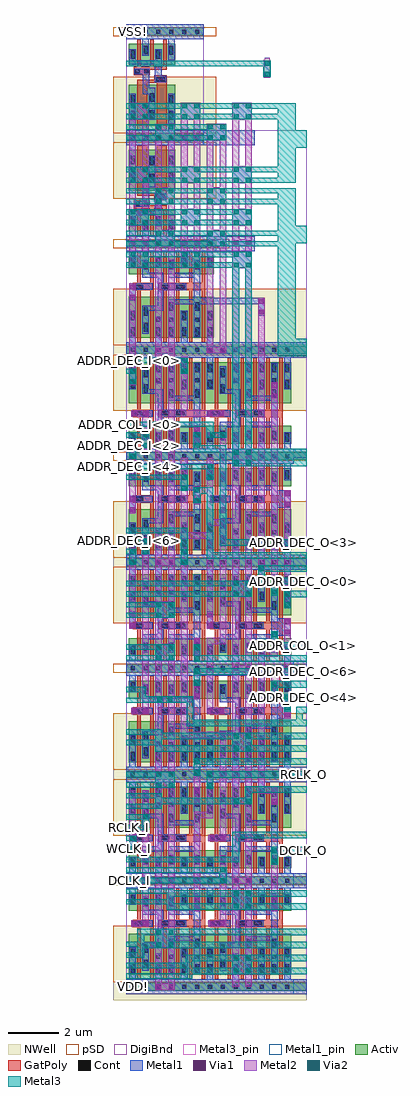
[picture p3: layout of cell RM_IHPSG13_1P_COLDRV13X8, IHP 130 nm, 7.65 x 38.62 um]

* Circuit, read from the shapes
.subckt RM_IHPSG13_1P_COLDRV13X8 ADDR_COL_I<0> ADDR_COL_I<1> ADDR_COL_O<0> ADDR_COL_O<1> ADDR_DEC_I<0> ADDR_DEC_I<1> ADDR_DEC_I<2> ADDR_DEC_I<3> ADDR_DEC_I<4> ADDR_DEC_I<5> ADDR_DEC_I<6> ADDR_DEC_I<7> ADDR_DEC_O<0> ADDR_DEC_O<1> ADDR_DEC_O<2> ADDR_DEC_O<3> ADDR_DEC_O<4> ADDR_DEC_O<5> ADDR_DEC_O<6> ADDR_DEC_O<7> DCLK_I DCLK_O RCLK_I RCLK_O VDD! VSS! WCLK_I WCLK_O
XM1 n1 RCLK_I VSS! VSS! sg13_lv_nmos w=0.705u l=0.13u m=2
XM2 n2 WCLK_I VSS! VSS! sg13_lv_nmos w=0.705u l=0.13u m=2
XM3 n3 ADDR_DEC_I<6> VSS! VSS! sg13_lv_nmos w=0.705u l=0.13u m=2
XM4 n4 ADDR_DEC_I<7> VSS! VSS! sg13_lv_nmos w=0.705u l=0.13u m=2
XM5 n5 ADDR_DEC_I<2> VSS! VSS! sg13_lv_nmos w=0.705u l=0.13u m=2
XM6 n6 ADDR_DEC_I<3> VSS! VSS! sg13_lv_nmos w=0.705u l=0.13u m=2
XM7 n7 ADDR_DEC_I<1> VSS! VSS! sg13_lv_nmos w=0.705u l=0.13u m=2
XM8 VSS! n8 n9 VSS! sg13_lv_nmos w=0.83u l=0.13u m=3
XM9 VSS! n10 n11 VSS! sg13_lv_nmos w=0.83u l=0.13u m=3
XM10 RCLK_O n1 VSS! VSS! sg13_lv_nmos w=0.705u l=0.13u m=4
XM11 WCLK_O n2 VSS! VSS! sg13_lv_nmos w=0.705u l=0.13u m=4
XM12 ADDR_DEC_O<6> n3 VSS! VSS! sg13_lv_nmos w=0.705u l=0.13u m=4
XM13 ADDR_DEC_O<7> n4 VSS! VSS! sg13_lv_nmos w=0.705u l=0.13u m=4
XM14 ADDR_DEC_O<2> n5 VSS! VSS! sg13_lv_nmos w=0.705u l=0.13u m=4
XM15 ADDR_DEC_O<3> n6 VSS! VSS! sg13_lv_nmos w=0.705u l=0.13u m=4
XM16 ADDR_DEC_O<1> n7 VSS! VSS! sg13_lv_nmos w=0.705u l=0.13u m=4
XM17 n12 DCLK_I VSS! VSS! sg13_lv_nmos w=0.705u l=0.13u m=2
XM18 n13 ADDR_COL_I<1> VSS! VSS! sg13_lv_nmos w=0.705u l=0.13u m=2
XM19 n14 ADDR_DEC_I<4> VSS! VSS! sg13_lv_nmos w=0.705u l=0.13u m=2
XM20 n15 ADDR_DEC_I<5> VSS! VSS! sg13_lv_nmos w=0.705u l=0.13u m=2
XM21 n16 ADDR_COL_I<0> VSS! VSS! sg13_lv_nmos w=0.705u l=0.13u m=2
XM22 n17 ADDR_DEC_I<0> VSS! VSS! sg13_lv_nmos w=0.705u l=0.13u m=2
XM23 DCLK_O n12 VSS! VSS! sg13_lv_nmos w=0.705u l=0.13u m=4
XM24 ADDR_COL_O<1> n13 VSS! VSS! sg13_lv_nmos w=0.705u l=0.13u m=4
XM25 ADDR_DEC_O<4> n14 VSS! VSS! sg13_lv_nmos w=0.705u l=0.13u m=4
XM26 ADDR_DEC_O<5> n15 VSS! VSS! sg13_lv_nmos w=0.705u l=0.13u m=4
XM27 ADDR_COL_O<0> n16 VSS! VSS! sg13_lv_nmos w=0.705u l=0.13u m=4
XM28 ADDR_DEC_O<0> n17 VSS! VSS! sg13_lv_nmos w=0.705u l=0.13u m=4
XM29 n1 RCLK_I VDD! VDD! sg13_lv_pmos w=1.62u l=0.13u m=2
XM30 n2 WCLK_I VDD! VDD! sg13_lv_pmos w=1.62u l=0.13u m=2
XM31 n3 ADDR_DEC_I<6> VDD! VDD! sg13_lv_pmos w=1.62u l=0.13u m=2
XM32 n4 ADDR_DEC_I<7> VDD! VDD! sg13_lv_pmos w=1.62u l=0.13u m=2
XM33 n5 ADDR_DEC_I<2> VDD! VDD! sg13_lv_pmos w=1.62u l=0.13u m=2
XM34 n6 ADDR_DEC_I<3> VDD! VDD! sg13_lv_pmos w=1.62u l=0.13u m=2
XM35 n7 ADDR_DEC_I<1> VDD! VDD! sg13_lv_pmos w=1.62u l=0.13u m=2
XM36 n8 n9 VDD! VDD! sg13_lv_pmos w=1.62u l=0.385u m=2
XM37 n10 n11 VDD! VDD! sg13_lv_pmos w=1.62u l=0.385u m=2
XM38 RCLK_O n1 VDD! VDD! sg13_lv_pmos w=1.62u l=0.13u m=4
XM39 WCLK_O n2 VDD! VDD! sg13_lv_pmos w=1.62u l=0.13u m=4
XM40 ADDR_DEC_O<6> n3 VDD! VDD! sg13_lv_pmos w=1.62u l=0.13u m=4
XM41 ADDR_DEC_O<7> n4 VDD! VDD! sg13_lv_pmos w=1.62u l=0.13u m=4
XM42 ADDR_DEC_O<2> n5 VDD! VDD! sg13_lv_pmos w=1.62u l=0.13u m=4
XM43 ADDR_DEC_O<3> n6 VDD! VDD! sg13_lv_pmos w=1.62u l=0.13u m=4
XM44 ADDR_DEC_O<1> n7 VDD! VDD! sg13_lv_pmos w=1.62u l=0.13u m=4
XM45 n12 DCLK_I VDD! VDD! sg13_lv_pmos w=1.62u l=0.13u m=2
XM46 n13 ADDR_COL_I<1> VDD! VDD! sg13_lv_pmos w=1.62u l=0.13u m=2
XM47 n14 ADDR_DEC_I<4> VDD! VDD! sg13_lv_pmos w=1.62u l=0.13u m=2
XM48 n15 ADDR_DEC_I<5> VDD! VDD! sg13_lv_pmos w=1.62u l=0.13u m=2
XM49 n16 ADDR_COL_I<0> VDD! VDD! sg13_lv_pmos w=1.62u l=0.13u m=2
XM50 n17 ADDR_DEC_I<0> VDD! VDD! sg13_lv_pmos w=1.62u l=0.13u m=2
XM51 DCLK_O n12 VDD! VDD! sg13_lv_pmos w=1.62u l=0.13u m=4
XM52 ADDR_COL_O<1> n13 VDD! VDD! sg13_lv_pmos w=1.62u l=0.13u m=4
XM53 ADDR_DEC_O<4> n14 VDD! VDD! sg13_lv_pmos w=1.62u l=0.13u m=4
XM54 ADDR_DEC_O<5> n15 VDD! VDD! sg13_lv_pmos w=1.62u l=0.13u m=4
XM55 ADDR_COL_O<0> n16 VDD! VDD! sg13_lv_pmos w=1.62u l=0.13u m=4
XM56 ADDR_DEC_O<0> n17 VDD! VDD! sg13_lv_pmos w=1.62u l=0.13u m=4
.ends

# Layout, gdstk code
from math import pi, radians
import gdstk
lib = gdstk.Library(unit=1e-6, precision=1e-09)
def R(c, l, rs):  # rectangles x0, y0, x1, y1
    for r in rs: c.add(gdstk.rectangle(r[:2], r[2:], *l))
def A(c, l, x, y, w, h, nx, ny, dx, dy):  # array of equal rectangles
    R(c, l, [(x+i*dx, y+j*dy, x+i*dx+w, y+j*dy+h) for i in range(nx) for j in range(ny)])
def P(c, l, *ps):  # polygons
    for p in ps: c.add(gdstk.Polygon(p, *l))
Activ = (1, 0)
GatPoly = (5, 0)
Cont = (6, 0)
Metal1 = (8, 0)
Metal1_pin = (8, 2)
Metal2 = (10, 0)
pSD = (14, 0)
DigiBnd = (16, 0)
Via1 = (19, 0)
Via2 = (29, 0)
Metal3 = (30, 0)
Metal3_pin = (30, 2)
NWell = (31, 0)

rsc_ihpsg13_cbufx8 = lib.new_cell('RSC_IHPSG13_CBUFX8')
R(rsc_ihpsg13_cbufx8, Activ, [(0,-0.15,3.57,0.15), (0.105,0.49,3.465,1.195), (0.105,2.1,3.465,3.72), (0,4.05,3.57,4.35)])
P(rsc_ihpsg13_cbufx8, GatPoly, [(0.445,0.3),(0.445,1.54),(0.26,1.54),(0.26,1.84),(0.445,1.84),(0.445,3.9),(0.575,3.9),(0.575,1.84),(0.955,1.84),(0.955,3.9),(1.085,3.9),(1.085,0.3),(0.955,0.3),(0.955,1.54),(0.575,1.54),(0.575,0.3)],
  [(1.465,0.3),(1.465,1.54),(1.295,1.54),(1.295,1.84),(1.465,1.84),(1.465,3.9),(1.595,3.9),(1.595,1.84),(1.975,1.84),(1.975,3.9),(2.105,3.9),(2.105,1.84),(2.485,1.84),(2.485,3.9),(2.615,3.9),(2.615,1.84),(2.995,1.84),(2.995,3.9),(3.125,3.9),(3.125,0.3),(2.995,0.3),(2.995,1.54),(2.615,1.54),(2.615,0.3),(2.485,0.3),(2.485,1.54),(2.105,1.54),(2.105,0.3),(1.975,0.3),(1.975,1.54),(1.595,1.54),(1.595,0.3)])
A(rsc_ihpsg13_cbufx8, Cont, 0.175, -0.08, 0.16, 0.16, 7, 2, 0.51, 4.2)
A(rsc_ihpsg13_cbufx8, Cont, 0.175, 0.56, 0.16, 0.34, 4, 1, 1.02, 0)
A(rsc_ihpsg13_cbufx8, Cont, 0.685, 0.67, 0.16, 0.34, 3, 1, 1.02, 0)
A(rsc_ihpsg13_cbufx8, Cont, 1.195, 3.31, 0.16, 0.34, 5, 1, 0.51, 0)
R(rsc_ihpsg13_cbufx8, Cont, [(0.33,1.61,0.67,1.77), (1.365,1.61,1.705,1.77), (1.985,1.61,2.325,1.77), (1.705,2.31,1.865,2.65), (2.725,2.31,2.885,2.65), (0.685,2.51,0.845,2.85), (0.175,2.69,0.335,3.03), (2.215,2.69,2.375,3.03), (3.235,2.69,3.395,3.03), (1.195,2.93,1.355,3.09), (1.705,2.93,1.865,3.09), (2.725,2.93,2.885,3.09), (0.685,3.13,0.845,3.47), (0.175,3.31,0.335,3.65)])
R(rsc_ihpsg13_cbufx8, Metal1, [(0.28,1.56,1.05,1.82)])
P(rsc_ihpsg13_cbufx8, Metal1, [(0.125,2.64),(0.125,3.9),(0,3.9),(0,4.5),(3.57,4.5),(3.57,3.9),(3.445,3.9),(3.445,2.64),(3.185,2.64),(3.185,3.9),(2.425,3.9),(2.425,2.64),(2.165,2.64),(2.165,3.9),(1.405,3.9),(1.405,2.88),(1.145,2.88),(1.145,3.9),(0.385,3.9),(0.385,2.64)],
  [(0.635,0.62),(0.635,1.35),(1.25,1.35),(1.25,2.46),(0.635,2.46),(0.635,3.56),(0.895,3.56),(0.895,2.65),(1.455,2.65),(1.455,1.83),(2.375,1.83),(2.375,1.56),(1.455,1.56),(1.455,1.15),(0.895,1.15),(0.895,0.62)],
  [(1.655,0.62),(1.655,1.35),(2.675,1.35),(2.675,2.2),(1.655,2.2),(1.655,3.7),(1.915,3.7),(1.915,2.39),(2.675,2.39),(2.675,3.7),(2.935,3.7),(2.935,0.62),(2.675,0.62),(2.675,1.15),(1.915,1.15),(1.915,0.62)],
  [(0,-0.3),(0,0.3),(0.125,0.3),(0.125,0.95),(0.385,0.95),(0.385,0.3),(1.145,0.3),(1.145,0.95),(1.405,0.95),(1.405,0.3),(2.165,0.3),(2.165,0.95),(2.425,0.95),(2.425,0.3),(3.185,0.3),(3.185,0.95),(3.445,0.95),(3.445,0.3),(3.57,0.3),(3.57,-0.3)])
R(rsc_ihpsg13_cbufx8, Metal1_pin, [(0,-0.3,3.57,0.3), (2.675,0.62,2.935,3.7), (0.28,1.56,1.05,1.82), (0,3.9,3.57,4.5)])
R(rsc_ihpsg13_cbufx8, pSD, [(-0.51,-0.18,4.08,0.18), (-0.51,1.785,4.08,4.02)])
R(rsc_ihpsg13_cbufx8, DigiBnd, [(0,-0.3,3.57,4.5)])
R(rsc_ihpsg13_cbufx8, NWell, [(-0.51,1.785,4.08,4.725)])
rsc_ihpsg13_cbufx8.add(gdstk.Label('A', (0.51,1.695), layer=8, texttype=2))
rsc_ihpsg13_cbufx8.add(gdstk.Label('Z', (2.806,1.995), layer=8, texttype=2))
rsc_ihpsg13_cbufx8.add(gdstk.Label('VSS!', (1.155,0.005), layer=8, texttype=2))
rsc_ihpsg13_cbufx8.add(gdstk.Label('VDD!', (0.84,4.2), layer=8, texttype=2))

m2_m1_cdns_686138838816 = lib.new_cell('M2_M1_CDNS_686138838816')
R(m2_m1_cdns_686138838816, Metal1, [(-0.35,-0.13,0.35,0.13)])
R(m2_m1_cdns_686138838816, Metal2, [(-0.35,-0.13,0.35,0.13)])
R(m2_m1_cdns_686138838816, Via1, [(-0.3,-0.095,-0.11,0.095), (0.11,-0.095,0.3,0.095)])

rsc_ihpsg13_fillcap4 = lib.new_cell('RSC_IHPSG13_FILLCAP4')
R(rsc_ihpsg13_fillcap4, Activ, [(0,-0.15,2.04,0.15), (0.105,0.49,1.935,1.32), (0.105,2.1,1.935,3.72), (0,4.05,2.04,4.35)])
P(rsc_ihpsg13_fillcap4, GatPoly, [(0.445,0.3),(0.445,1.39),(0.295,1.39),(0.295,1.72),(0.935,1.72),(0.935,1.52),(1.595,1.52),(1.595,0.3),(1.465,0.3),(1.465,1.39),(1.085,1.39),(1.085,0.3),(0.955,0.3),(0.955,1.39),(0.575,1.39),(0.575,0.3)],
  [(1.115,1.73),(1.115,1.9),(0.445,1.9),(0.445,3.9),(0.83,3.9),(0.83,2.03),(1.21,2.03),(1.21,3.9),(1.595,3.9),(1.595,1.73)])
A(rsc_ihpsg13_fillcap4, Cont, 0.175, -0.08, 0.16, 0.16, 4, 2, 0.51, 4.2)
R(rsc_ihpsg13_fillcap4, Cont, [(0.685,0.56,0.845,0.9), (1.705,0.57,1.865,0.91), (0.175,0.745,0.335,1.085), (1.195,0.745,1.355,1.085), (0.365,1.49,0.525,1.65), (0.705,1.49,0.865,1.65), (1.185,1.8,1.525,1.96), (0.94,2.44,1.1,2.78), (0.175,2.52,0.335,2.86), (1.705,2.52,1.865,2.86), (0.94,3.105,1.1,3.445), (0.175,3.14,0.335,3.48), (1.705,3.14,1.865,3.48)])
P(rsc_ihpsg13_fillcap4, Metal1, [(0.315,1.47),(0.315,1.69),(0.655,1.69),(0.655,2.49),(0.89,2.49),(0.89,3.495),(1.15,3.495),(1.15,2.23),(0.915,2.23),(0.915,1.47)],
  [(0.125,0.695),(0.125,1.29),(1.135,1.29),(1.135,2.01),(1.575,2.01),(1.575,1.75),(1.405,1.75),(1.405,0.695),(1.145,0.695),(1.145,1.13),(0.385,1.13),(0.385,0.695)],
  [(0.125,2.46),(0.125,3.9),(0,3.9),(0,4.5),(2.04,4.5),(2.04,3.9),(1.915,3.9),(1.915,2.46),(1.655,2.46),(1.655,3.9),(0.385,3.9),(0.385,2.46)],
  [(0,-0.3),(0,0.3),(0.635,0.3),(0.635,0.95),(0.895,0.95),(0.895,0.3),(1.655,0.3),(1.655,1.135),(1.915,1.135),(1.915,0.3),(2.04,0.3),(2.04,-0.3)])
R(rsc_ihpsg13_fillcap4, Metal1_pin, [(0,-0.3,2.04,0.3), (0,3.9,2.04,4.5)])
R(rsc_ihpsg13_fillcap4, pSD, [(-0.51,-0.18,2.55,0.18), (-0.51,1.785,2.55,4.02)])
R(rsc_ihpsg13_fillcap4, DigiBnd, [(0,-0.3,2.04,4.5)])
R(rsc_ihpsg13_fillcap4, NWell, [(-0.51,1.785,2.55,4.725)])
rsc_ihpsg13_fillcap4.add(gdstk.Label('VDD!', (0.84,4.2), layer=8, texttype=2))
rsc_ihpsg13_fillcap4.add(gdstk.Label('VSS!', (1.155,0.005), layer=8, texttype=2))

rsc_ihpsg13_fill2 = lib.new_cell('RSC_IHPSG13_FILL2')
R(rsc_ihpsg13_fill2, Activ, [(0,-0.15,1.02,0.15), (0,4.05,1.02,4.35)])
R(rsc_ihpsg13_fill2, Cont, [(0.175,-0.08,0.335,0.08), (0.685,-0.08,0.845,0.08), (0.175,4.12,0.335,4.28), (0.685,4.12,0.845,4.28)])
R(rsc_ihpsg13_fill2, Metal1, [(0,-0.3,1.02,0.3), (0,3.9,1.02,4.5)])
R(rsc_ihpsg13_fill2, Metal1_pin, [(0,-0.3,1.02,0.3), (0,3.9,1.02,4.5)])
R(rsc_ihpsg13_fill2, pSD, [(-0.51,-0.18,1.53,0.18), (-0.51,1.785,1.53,4.02)])
R(rsc_ihpsg13_fill2, DigiBnd, [(0,-0.3,1.02,4.5)])
R(rsc_ihpsg13_fill2, NWell, [(-0.51,1.785,1.53,4.725)])
rsc_ihpsg13_fill2.add(gdstk.Label('VSS!', (0.635,-0.005), layer=8, texttype=2))
rsc_ihpsg13_fill2.add(gdstk.Label('VDD!', (0.515,4.215), layer=8, texttype=2))

m2_m1_cdns_6861388388112 = lib.new_cell('M2_M1_CDNS_6861388388112')
R(m2_m1_cdns_6861388388112, Metal1, [(-0.385,-0.13,0.385,0.13)])
R(m2_m1_cdns_6861388388112, Metal2, [(-0.385,-0.13,0.385,0.13)])
R(m2_m1_cdns_6861388388112, Via1, [(-0.335,-0.095,-0.145,0.095), (0.145,-0.095,0.335,0.095)])

viagen23_cdns_6861388388 = lib.new_cell('viagen23_CDNS_6861388388142')
R(viagen23_cdns_6861388388, Metal2, [(-0.105,-0.35,0.105,0.35)])
R(viagen23_cdns_6861388388, Via2, [(-0.095,-0.3,0.095,-0.11), (-0.095,0.11,0.095,0.3)])
R(viagen23_cdns_6861388388, Metal3, [(-0.105,-0.35,0.105,0.35)])

m3_m2_cdns_6861388388143 = lib.new_cell('M3_M2_CDNS_6861388388143')
R(m3_m2_cdns_6861388388143, Metal2, [(-0.355,-0.13,0.355,0.13)])
R(m3_m2_cdns_6861388388143, Via2, [(-0.305,-0.095,-0.115,0.095), (0.115,-0.095,0.305,0.095)])
R(m3_m2_cdns_6861388388143, Metal3, [(-0.315,-0.145,0.315,0.145)])

c_viagen23_cdns_6861388388 = lib.new_cell('viagen23_CDNS_6861388388130')
R(c_viagen23_cdns_6861388388, Metal2, [(-0.385,-0.34,0.385,0.34)])
R(c_viagen23_cdns_6861388388, Via2, [(-0.335,-0.305,-0.145,-0.115), (0.145,-0.305,0.335,-0.115), (-0.335,0.115,-0.145,0.305), (0.145,0.115,0.335,0.305)])
R(c_viagen23_cdns_6861388388, Metal3, [(-0.385,-0.315,0.385,0.315)])

c_viagen23_cdns_6861388388_ = lib.new_cell('viagen23_CDNS_6861388388115')
R(c_viagen23_cdns_6861388388_, Metal2, [(-0.385,-0.385,0.385,0.385)])
R(c_viagen23_cdns_6861388388_, Via2, [(-0.335,-0.335,-0.145,-0.145), (0.145,-0.335,0.335,-0.145), (-0.335,0.145,-0.145,0.335), (0.145,0.145,0.335,0.335)])
R(c_viagen23_cdns_6861388388_, Metal3, [(-0.385,-0.385,0.385,0.385)])

m3_m2_cdns_6861388388117 = lib.new_cell('M3_M2_CDNS_6861388388117')
R(m3_m2_cdns_6861388388117, Metal2, [(-0.385,-0.13,0.385,0.13)])
R(m3_m2_cdns_6861388388117, Via2, [(-0.335,-0.095,-0.145,0.095), (0.145,-0.095,0.335,0.095)])
R(m3_m2_cdns_6861388388117, Metal3, [(-0.385,-0.13,0.385,0.13)])

m3_m2_cdns_6861388388111 = lib.new_cell('M3_M2_CDNS_6861388388111')
R(m3_m2_cdns_6861388388111, Metal2, [(-0.35,-0.13,0.35,0.13)])
R(m3_m2_cdns_6861388388111, Via2, [(-0.3,-0.095,-0.11,0.095), (0.11,-0.095,0.3,0.095)])
R(m3_m2_cdns_6861388388111, Metal3, [(-0.35,-0.13,0.35,0.13)])

rm_ihpsg13_1p_coldrv13x8 = lib.new_cell('RM_IHPSG13_1P_COLDRV13X8')
A(rm_ihpsg13_1p_coldrv13x8, Activ, 6.63, -37.95, 0.51, 0.3, 1, 7, 0, 4.2)
A(rm_ihpsg13_1p_coldrv13x8, Metal1, 6.63, -38.1, 0.51, 0.6, 1, 4, 0, 4.2)
R(rm_ihpsg13_1p_coldrv13x8, Metal1, [(5.995,-27.19,6.245,-26.49), (5.995,-23.91,6.245,-23.21), (6.625,-21.3,7.14,-20.7), (5.995,-18.85,6.505,-18.15), (6.63,-16.86,7.14,-16.5), (6.63,-12.9,7.14,-12.3), (2.935,-10.79,5.485,-10.54), (3.06,-8.7,5.095,-8.1), (3.06,-4.5,5.095,-3.9)])
R(rm_ihpsg13_1p_coldrv13x8, Metal1_pin, [(0,-38.1,0.6,-37.5), (0,-33.9,0.6,-33.3), (0,-0.3,0.6,0.3)])
R(rm_ihpsg13_1p_coldrv13x8, Metal2, [(1.145,-37.93,1.405,-4.07), (1.655,-37.93,1.915,-4.07), (4.205,-37.8,4.465,-2.81), (4.715,-37.8,4.975,-2.81), (0.635,-35.42,0.895,-30.03), (3.695,-35.42,3.955,-32.595), (5.735,-34.82,5.995,-32.27), (0.125,-32.04,0.385,-30.03), (2.675,-30.6,2.935,-28.76), (6.245,-27.19,6.505,-26.21), (2.675,-26.42,2.935,-25.19), (2.675,-24.94,2.935,-23.98), (0.125,-23.64,0.385,-20.435), (6.245,-22.83,6.505,-18.15), (5.735,-22.32,5.995,-13.87), (5.225,-21.81,5.485,-10.54), (0.125,-19.06,0.385,-16.485), (2.675,-18.71,2.935,-18), (2.675,-16.525,2.935,-15.58), (0.125,-14.005,0.385,-9.96), (3.185,-12.73,3.445,-4.07), (3.695,-12.73,3.955,-4.07), (0.125,-9.37,0.385,-2.81), (0.635,-9.37,0.895,-2.81), (2.165,-9.37,2.425,-2.81), (2.675,-9.37,2.935,-2.81), (5.475,-1.365,5.675,-1.035)])
P(rm_ihpsg13_1p_coldrv13x8, Metal2, [(5.735,-25.705),(5.735,-25.445),(6.245,-25.445),(6.245,-23.21),(6.505,-23.21),(6.505,-25.705)],
  [(5.225,-30.16),(5.225,-24.49),(5.735,-24.49),(5.735,-23.73),(5.995,-23.73),(5.995,-24.75),(5.485,-24.75),(5.485,-29.9),(5.735,-29.9),(5.735,-30.16)],
  [(3.695,-19.06),(3.695,-16.065),(3.27,-16.065),(3.27,-15.855),(3.97,-15.855),(3.97,-16.065),(3.955,-16.065),(3.955,-19.06)],
  [(3.695,-32.04),(3.695,-27.97),(2.165,-27.97),(2.165,-20.435),(2.425,-20.435),(2.425,-27.71),(3.955,-27.71),(3.955,-32.04)],
  [(3.185,-27.02),(3.185,-23.98),(3.695,-23.98),(3.695,-19.56),(3.185,-19.56),(3.185,-16.86),(3.445,-16.86),(3.445,-19.3),(3.955,-19.3),(3.955,-24.24),(3.445,-24.24),(3.445,-27.02)],
  [(2.675,-34.82),(2.675,-30.88),(3.185,-30.88),(3.185,-29.27),(3.445,-29.27),(3.445,-31.14),(2.935,-31.14),(2.935,-34.82)],
  [(3.185,-23.64),(3.185,-20.07),(2.165,-20.07),(2.165,-16.86),(2.425,-16.86),(2.425,-19.81),(3.445,-19.81),(3.445,-23.64)],
  [(2.165,-15.24),(2.165,-12.875),(2.425,-12.875),(2.425,-14.98),(3.185,-14.98),(3.185,-15.24)],
  [(0.195,-27.02),(0.195,-26.76),(0.635,-26.76),(0.635,-20.015),(0.895,-20.015),(0.895,-27.02)],
  [(0.635,-16.525),(0.635,-15.24),(0.195,-15.24),(0.195,-14.98),(0.895,-14.98),(0.895,-16.525)])
R(rm_ihpsg13_1p_coldrv13x8, pSD, [(4.08,-12.42,7.14,-10.185)])
R(rm_ihpsg13_1p_coldrv13x8, DigiBnd, [(0,-38.1,7.14,-3.9)])
R(rm_ihpsg13_1p_coldrv13x8, Metal3, [(0,-33.705,3.955,-33.495), (0,-33.285,3.955,-33.075), (5.735,-32.53,7.14,-32.27), (0,-32.445,0.385,-32.235), (0,-32.025,0.385,-31.815), (0,-31.605,0.895,-31.395), (0,-31.185,0.895,-30.975), (0,-29.925,1.915,-29.715), (3.185,-29.53,7.14,-29.27), (0,-29.505,1.915,-29.295), (2.675,-29.02,7.14,-28.76), (6.245,-26.47,7.14,-26.21), (5.735,-25.96,7.14,-25.7), (2.675,-25.45,7.14,-25.19), (2.675,-24.94,7.14,-24.68), (0,-24.885,1.915,-24.675), (0,-24.465,1.915,-24.255), (5.735,-24.43,7.14,-24.17), (0,-23.205,1.915,-22.995), (0,-22.785,1.915,-22.575), (6.245,-22.39,7.14,-22.13), (0,-22.365,4.975,-22.155), (0,-21.945,4.975,-21.735), (5.735,-21.88,7.14,-21.62), (5.225,-21.37,7.14,-21.11), (0,-20.685,0.385,-20.475), (0,-20.265,0.895,-20.055), (0,-17.745,2.425,-17.535), (0,-17.325,3.445,-17.115), (0,-16.485,0.385,-16.275), (0,-16.065,0.91,-15.855), (0,-13.545,0.385,-13.335), (0,-13.125,2.425,-12.915), (0,-7.665,4.975,-7.455), (0,-7.245,4.975,-7.035), (0,-4.305,3.955,-4.095), (0,-3.885,3.955,-3.675), (0,-1.365,5.675,-1.155)])
P(rm_ihpsg13_1p_coldrv13x8, Metal3, [(2.15,-20.475),(2.15,-19.845),(0,-19.845),(0,-19.635),(2.44,-19.635),(2.44,-20.475)],
  [(3.17,-16.065),(3.17,-15.645),(0,-15.645),(0,-15.435),(3.46,-15.435),(3.46,-16.065)],
  [(0,-37.485),(0,-37.275),(2.36,-37.275),(2.36,-37.065),(0,-37.065),(0,-36.855),(2.36,-36.855),(2.36,-36.53),(7.14,-36.53),(7.14,-36.79),(2.62,-36.79),(2.62,-37.04),(7.14,-37.04),(7.14,-37.3),(2.62,-37.3),(2.62,-37.485)],
  [(0,-36.645),(0,-36.435),(0.445,-36.435),(0.445,-36.225),(0,-36.225),(0,-36.015),(0.445,-36.015),(0.445,-35.51),(7.14,-35.51),(7.14,-35.77),(0.705,-35.77),(0.705,-36.02),(7.14,-36.02),(7.14,-36.28),(0.705,-36.28),(0.705,-36.645)],
  [(1.61,-34.75),(1.61,-34.545),(0,-34.545),(0,-34.335),(1.61,-34.335),(1.61,-34.125),(0,-34.125),(0,-33.915),(1.87,-33.915),(1.87,-33.98),(7.14,-33.98),(7.14,-34.24),(1.87,-34.24),(1.87,-34.49),(7.14,-34.49),(7.14,-34.75)],
  [(0,-32.865),(0,-32.655),(4.205,-32.655),(4.205,-31.67),(7.14,-31.67),(7.14,-31.93),(4.465,-31.93),(4.465,-32.865)],
  [(0,-30.765),(0,-30.555),(1.145,-30.555),(1.145,-30.345),(0,-30.345),(0,-30.135),(1.405,-30.135),(1.405,-30.32),(4.715,-30.32),(4.715,-29.87),(7.14,-29.87),(7.14,-30.13),(4.975,-30.13),(4.975,-30.58),(1.405,-30.58),(1.405,-30.765)],
  [(1.145,-28.51),(1.145,-28.245),(0,-28.245),(0,-28.035),(1.145,-28.035),(1.145,-27.825),(0,-27.825),(0,-27.615),(1.405,-27.615),(1.405,-27.74),(7.14,-27.74),(7.14,-28),(1.405,-28),(1.405,-28.25),(7.14,-28.25),(7.14,-28.51)],
  [(2.385,-27.49),(2.385,-26.565),(0,-26.565),(0,-26.355),(0.515,-26.355),(0.515,-26.145),(0,-26.145),(0,-25.935),(0.775,-25.935),(0.775,-26.305),(2.645,-26.305),(2.645,-27.23),(6.73,-27.23),(6.73,-26.72),(7.14,-26.72),(7.14,-26.98),(6.99,-26.98),(6.99,-27.23),(7.14,-27.23),(7.14,-27.49)],
  [(3.185,-20.86),(3.185,-18.3),(2.66,-18.3),(2.66,-18.04),(3.445,-18.04),(3.445,-20.6),(7.14,-20.6),(7.14,-20.86)],
  [(3.695,-20.35),(3.695,-16.64),(2.66,-16.64),(2.66,-16.485),(2.95,-16.485),(2.95,-16.38),(3.955,-16.38),(3.955,-20.09),(7.14,-20.09),(7.14,-20.35)],
  [(4.205,-17.2),(4.205,-9.345),(0,-9.345),(0,-9.135),(4.205,-9.135),(4.205,-8.925),(0,-8.925),(0,-8.715),(4.715,-8.715),(4.715,-8.925),(4.465,-8.925),(4.465,-9.135),(4.715,-9.135),(4.715,-9.345),(4.465,-9.345),(4.465,-16.5),(4.715,-16.5),(4.715,-8.715),(4.975,-8.715),(4.975,-16.5),(7.14,-16.5),(7.14,-17.2)],
  [(6,-12.855),(6,-8.505),(0,-8.505),(0,-8.295),(6,-8.295),(6,-8.085),(0,-8.085),(0,-7.875),(6,-7.875),(6,-6.825),(0,-6.825),(0,-6.615),(6,-6.615),(6,-6.405),(0,-6.405),(0,-6.195),(6.7,-6.195),(6.7,-7.675),(7.14,-7.675),(7.14,-8.375),(6.7,-8.375),(6.7,-12.155),(7.14,-12.155),(7.14,-12.855)],
  [(0,-5.985),(0,-5.775),(6,-5.775),(6,-5.565),(0,-5.565),(0,-5.355),(6,-5.355),(6,-3.465),(0,-3.465),(0,-3.255),(6,-3.255),(6,-3.045),(0,-3.045),(0,-2.835),(6.7,-2.835),(6.7,-3.9),(7.14,-3.9),(7.14,-4.6),(6.7,-4.6),(6.7,-5.985)])
A(rm_ihpsg13_1p_coldrv13x8, Metal3_pin, 6.88, -26.47, 0.26, 0.26, 1, 5, 0, 0.51)
A(rm_ihpsg13_1p_coldrv13x8, Metal3_pin, 6.88, -22.39, 0.26, 0.26, 1, 5, 0, 0.51)
A(rm_ihpsg13_1p_coldrv13x8, Metal3_pin, 0, -20.685, 0.26, 0.21, 1, 3, 0, 0.42)
A(rm_ihpsg13_1p_coldrv13x8, Metal3_pin, 0, -16.485, 0.26, 0.21, 1, 3, 0, 0.42)
R(rm_ihpsg13_1p_coldrv13x8, Metal3_pin, [(0,-33.705,0.26,-33.495), (6.88,-32.53,7.14,-32.27), (0,-32.445,0.26,-32.235), (0,-31.605,0.26,-31.395), (6.88,-29.53,7.14,-29.27), (6.88,-29.02,7.14,-28.76), (0,-17.745,0.26,-17.535), (0,-17.325,0.26,-17.115), (0,-13.545,0.26,-13.335), (0,-13.125,0.26,-12.915)])
R(rm_ihpsg13_1p_coldrv13x8, NWell, [(4.08,-12.075,7.14,-10.185)])
r = gdstk.Reference(rsc_ihpsg13_cbufx8, (0,-16.8), x_reflection=True); r.repetition = gdstk.Repetition(2, 3, v1=(3.06,0), v2=(0,-8.4)); rm_ihpsg13_1p_coldrv13x8.add(r)
r = gdstk.Reference(rsc_ihpsg13_cbufx8, (0,-33.6)); r.repetition = gdstk.Repetition(2, 3, v1=(3.06,0), v2=(0,8.4)); rm_ihpsg13_1p_coldrv13x8.add(r)
rm_ihpsg13_1p_coldrv13x8.add(gdstk.Reference(m2_m1_cdns_686138838816, (3.825,-18.71), rotation=pi/2))
rm_ihpsg13_1p_coldrv13x8.add(gdstk.Reference(m2_m1_cdns_686138838816, (0.255,-18.71), rotation=pi/2))
r = gdstk.Reference(rsc_ihpsg13_fillcap4, (0,-8.4)); r.repetition = gdstk.Repetition(1, 1, v1=(0,0), v2=(0,0)); rm_ihpsg13_1p_coldrv13x8.add(r)
r = gdstk.Reference(rsc_ihpsg13_fill2, (2.04,0), x_reflection=True); r.repetition = gdstk.Repetition(1, 1, v1=(0,0), v2=(0,0)); rm_ihpsg13_1p_coldrv13x8.add(r)
r = gdstk.Reference(rsc_ihpsg13_fill2, (2.04,-8.4)); r.repetition = gdstk.Repetition(1, 1, v1=(0,0), v2=(0,0)); rm_ihpsg13_1p_coldrv13x8.add(r)
rm_ihpsg13_1p_coldrv13x8.add(gdstk.Reference(m2_m1_cdns_686138838816, (0.255,-10.31), rotation=pi/2))
rm_ihpsg13_1p_coldrv13x8.add(gdstk.Reference(m2_m1_cdns_686138838816, (5.355,-10.89), rotation=pi/2))
rm_ihpsg13_1p_coldrv13x8.add(gdstk.Reference(m2_m1_cdns_686138838816, (0.545,-15.11), rotation=pi))
rm_ihpsg13_1p_coldrv13x8.add(gdstk.Reference(m2_m1_cdns_686138838816, (3.535,-15.11), rotation=pi))
rm_ihpsg13_1p_coldrv13x8.add(gdstk.Reference(m2_m1_cdns_686138838816, (6.375,-18.5), rotation=pi/2))
rm_ihpsg13_1p_coldrv13x8.add(gdstk.Reference(m2_m1_cdns_686138838816, (5.865,-14.22), rotation=pi/2))
rm_ihpsg13_1p_coldrv13x8.add(gdstk.Reference(m2_m1_cdns_686138838816, (2.805,-18.36), rotation=pi/2))
rm_ihpsg13_1p_coldrv13x8.add(gdstk.Reference(m2_m1_cdns_686138838816, (2.805,-15.93), rotation=pi/2))
r = gdstk.Reference(rsc_ihpsg13_cbufx8, (0,-8.4), x_reflection=True); r.repetition = gdstk.Repetition(1, 1, v1=(0,0), v2=(0,0)); rm_ihpsg13_1p_coldrv13x8.add(r)
r = gdstk.Reference(rsc_ihpsg13_fillcap4, (0,0), x_reflection=True); r.repetition = gdstk.Repetition(1, 1, v1=(0,0), v2=(0,0)); rm_ihpsg13_1p_coldrv13x8.add(r)
rm_ihpsg13_1p_coldrv13x8.add(gdstk.Reference(m2_m1_cdns_6861388388112, (3.57,-12.6), x_reflection=True))
rm_ihpsg13_1p_coldrv13x8.add(gdstk.Reference(m2_m1_cdns_6861388388112, (0.51,-8.35), x_reflection=True))
rm_ihpsg13_1p_coldrv13x8.add(gdstk.Reference(m2_m1_cdns_6861388388112, (4.59,-8.35), x_reflection=True))
rm_ihpsg13_1p_coldrv13x8.add(gdstk.Reference(m2_m1_cdns_6861388388112, (1.53,-12.6), x_reflection=True))
rm_ihpsg13_1p_coldrv13x8.add(gdstk.Reference(m2_m1_cdns_6861388388112, (4.59,-16.8), x_reflection=True))
rm_ihpsg13_1p_coldrv13x8.add(gdstk.Reference(m2_m1_cdns_6861388388112, (2.55,-8.35), x_reflection=True))
rm_ihpsg13_1p_coldrv13x8.add(gdstk.Reference(m2_m1_cdns_6861388388112, (3.57,-4.2)))
rm_ihpsg13_1p_coldrv13x8.add(gdstk.Reference(m2_m1_cdns_6861388388112, (1.53,-4.2)))
rm_ihpsg13_1p_coldrv13x8.add(gdstk.Reference(viagen23_cdns_6861388388, (3.62,-15.96), rotation=pi/2))
rm_ihpsg13_1p_coldrv13x8.add(gdstk.Reference(m3_m2_cdns_6861388388143, (0.255,-16.59), rotation=pi/2))
rm_ihpsg13_1p_coldrv13x8.add(gdstk.Reference(m3_m2_cdns_6861388388143, (0.255,-13.65), rotation=pi/2))
rm_ihpsg13_1p_coldrv13x8.add(gdstk.Reference(m3_m2_cdns_6861388388143, (5.575,-1.47), rotation=pi/2))
rm_ihpsg13_1p_coldrv13x8.add(gdstk.Reference(m3_m2_cdns_6861388388143, (2.295,-17.85), rotation=pi/2))
rm_ihpsg13_1p_coldrv13x8.add(gdstk.Reference(m3_m2_cdns_6861388388143, (0.765,-16.17), rotation=pi/2))
rm_ihpsg13_1p_coldrv13x8.add(gdstk.Reference(m3_m2_cdns_6861388388143, (3.315,-17.43), rotation=pi/2))
rm_ihpsg13_1p_coldrv13x8.add(gdstk.Reference(m3_m2_cdns_6861388388143, (2.805,-16.17), rotation=pi/2))
rm_ihpsg13_1p_coldrv13x8.add(gdstk.Reference(m3_m2_cdns_6861388388143, (2.805,-18.355), rotation=pi/2))
rm_ihpsg13_1p_coldrv13x8.add(gdstk.Reference(m3_m2_cdns_6861388388143, (2.295,-13.23), rotation=pi/2))
rm_ihpsg13_1p_coldrv13x8.add(gdstk.Reference(c_viagen23_cdns_6861388388, (1.53,-8.19)))
rm_ihpsg13_1p_coldrv13x8.add(gdstk.Reference(c_viagen23_cdns_6861388388, (4.59,-9.03)))
rm_ihpsg13_1p_coldrv13x8.add(gdstk.Reference(c_viagen23_cdns_6861388388, (4.59,-16.855)))
rm_ihpsg13_1p_coldrv13x8.add(gdstk.Reference(c_viagen23_cdns_6861388388, (4.59,-7.35)))
rm_ihpsg13_1p_coldrv13x8.add(gdstk.Reference(c_viagen23_cdns_6861388388, (1.53,-3.99)))
rm_ihpsg13_1p_coldrv13x8.add(gdstk.Reference(c_viagen23_cdns_6861388388, (1.53,-6.51)))
rm_ihpsg13_1p_coldrv13x8.add(gdstk.Reference(c_viagen23_cdns_6861388388, (4.59,-5.67)))
rm_ihpsg13_1p_coldrv13x8.add(gdstk.Reference(c_viagen23_cdns_6861388388, (4.59,-3.15)))
rm_ihpsg13_1p_coldrv13x8.add(gdstk.Reference(c_viagen23_cdns_6861388388, (2.55,-3.15)))
rm_ihpsg13_1p_coldrv13x8.add(gdstk.Reference(c_viagen23_cdns_6861388388, (2.55,-5.67)))
rm_ihpsg13_1p_coldrv13x8.add(gdstk.Reference(c_viagen23_cdns_6861388388, (2.55,-9.03)))
rm_ihpsg13_1p_coldrv13x8.add(gdstk.Reference(c_viagen23_cdns_6861388388, (2.55,-7.35)))
rm_ihpsg13_1p_coldrv13x8.add(gdstk.Reference(c_viagen23_cdns_6861388388, (3.57,-8.19)))
rm_ihpsg13_1p_coldrv13x8.add(gdstk.Reference(c_viagen23_cdns_6861388388, (3.57,-6.51)))
rm_ihpsg13_1p_coldrv13x8.add(gdstk.Reference(c_viagen23_cdns_6861388388, (0.51,-3.15)))
rm_ihpsg13_1p_coldrv13x8.add(gdstk.Reference(c_viagen23_cdns_6861388388, (0.51,-9.03)))
rm_ihpsg13_1p_coldrv13x8.add(gdstk.Reference(c_viagen23_cdns_6861388388, (0.51,-7.35)))
rm_ihpsg13_1p_coldrv13x8.add(gdstk.Reference(c_viagen23_cdns_6861388388, (0.51,-5.67)))
rm_ihpsg13_1p_coldrv13x8.add(gdstk.Reference(c_viagen23_cdns_6861388388, (3.57,-3.99)))
rm_ihpsg13_1p_coldrv13x8.add(gdstk.Reference(m2_m1_cdns_686138838816, (0.255,-23.29), rotation=pi/2))
rm_ihpsg13_1p_coldrv13x8.add(gdstk.Reference(m2_m1_cdns_686138838816, (6.375,-26.84), rotation=pi/2))
rm_ihpsg13_1p_coldrv13x8.add(gdstk.Reference(m2_m1_cdns_686138838816, (2.805,-24.33), rotation=pi/2))
rm_ihpsg13_1p_coldrv13x8.add(gdstk.Reference(m2_m1_cdns_686138838816, (2.805,-30.25), rotation=pi/2))
rm_ihpsg13_1p_coldrv13x8.add(gdstk.Reference(m2_m1_cdns_686138838816, (6.375,-23.56), rotation=3*pi/2, x_reflection=True))
rm_ihpsg13_1p_coldrv13x8.add(gdstk.Reference(m2_m1_cdns_686138838816, (3.535,-26.89), rotation=pi))
rm_ihpsg13_1p_coldrv13x8.add(gdstk.Reference(m2_m1_cdns_6861388388112, (1.53,-37.8), x_reflection=True))
rm_ihpsg13_1p_coldrv13x8.add(gdstk.Reference(m2_m1_cdns_6861388388112, (1.53,-21), x_reflection=True))
rm_ihpsg13_1p_coldrv13x8.add(gdstk.Reference(c_viagen23_cdns_6861388388, (1.53,-22.89)))
rm_ihpsg13_1p_coldrv13x8.add(gdstk.Reference(c_viagen23_cdns_6861388388, (4.59,-22.05)))
rm_ihpsg13_1p_coldrv13x8.add(gdstk.Reference(c_viagen23_cdns_6861388388, (1.53,-24.57)))
rm_ihpsg13_1p_coldrv13x8.add(gdstk.Reference(c_viagen23_cdns_6861388388, (1.53,-29.61)))
rm_ihpsg13_1p_coldrv13x8.add(gdstk.Reference(m2_m1_cdns_6861388388112, (4.59,-33.6), x_reflection=True))
rm_ihpsg13_1p_coldrv13x8.add(gdstk.Reference(m2_m1_cdns_6861388388112, (4.59,-25.2), x_reflection=True))
rm_ihpsg13_1p_coldrv13x8.add(gdstk.Reference(m2_m1_cdns_6861388388112, (1.53,-29.4), x_reflection=True))
rm_ihpsg13_1p_coldrv13x8.add(gdstk.Reference(m2_m1_cdns_686138838816, (3.605,-31.91), rotation=pi))
rm_ihpsg13_1p_coldrv13x8.add(gdstk.Reference(m2_m1_cdns_686138838816, (3.605,-35.29), rotation=pi))
rm_ihpsg13_1p_coldrv13x8.add(gdstk.Reference(m2_m1_cdns_686138838816, (2.805,-34.47), rotation=pi/2))
rm_ihpsg13_1p_coldrv13x8.add(gdstk.Reference(m2_m1_cdns_686138838816, (0.545,-35.29), rotation=pi))
rm_ihpsg13_1p_coldrv13x8.add(gdstk.Reference(m2_m1_cdns_686138838816, (0.545,-26.89), rotation=pi))
rm_ihpsg13_1p_coldrv13x8.add(gdstk.Reference(m2_m1_cdns_686138838816, (5.865,-34.47), rotation=pi/2))
rm_ihpsg13_1p_coldrv13x8.add(gdstk.Reference(m2_m1_cdns_686138838816, (2.805,-26.07), rotation=pi/2))
rm_ihpsg13_1p_coldrv13x8.add(gdstk.Reference(m2_m1_cdns_686138838816, (5.865,-30.25), rotation=pi/2))
rm_ihpsg13_1p_coldrv13x8.add(gdstk.Reference(m2_m1_cdns_686138838816, (3.315,-23.29), rotation=pi/2))
rm_ihpsg13_1p_coldrv13x8.add(gdstk.Reference(m3_m2_cdns_6861388388143, (0.765,-31.29), rotation=pi/2))
rm_ihpsg13_1p_coldrv13x8.add(gdstk.Reference(m3_m2_cdns_6861388388143, (0.255,-20.79), rotation=pi/2))
rm_ihpsg13_1p_coldrv13x8.add(gdstk.Reference(m3_m2_cdns_6861388388143, (0.765,-20.37), rotation=pi/2))
rm_ihpsg13_1p_coldrv13x8.add(gdstk.Reference(m3_m2_cdns_6861388388143, (2.295,-20.79), rotation=pi/2))
rm_ihpsg13_1p_coldrv13x8.add(gdstk.Reference(m3_m2_cdns_6861388388143, (3.825,-33.39), rotation=pi/2))
rm_ihpsg13_1p_coldrv13x8.add(gdstk.Reference(m3_m2_cdns_6861388388143, (0.255,-32.13), rotation=pi/2))
rm_ihpsg13_1p_coldrv13x8.add(gdstk.Reference(m2_m1_cdns_686138838816, (0.255,-31.69), rotation=pi/2))
rm_ihpsg13_1p_coldrv13x8.add(gdstk.Reference(c_viagen23_cdns_6861388388_, (4.59,-34.365)))
rm_ihpsg13_1p_coldrv13x8.add(gdstk.Reference(c_viagen23_cdns_6861388388_, (4.59,-28.125)))
rm_ihpsg13_1p_coldrv13x8.add(gdstk.Reference(c_viagen23_cdns_6861388388_, (1.53,-35.895)))
rm_ihpsg13_1p_coldrv13x8.add(gdstk.Reference(c_viagen23_cdns_6861388388_, (4.59,-36.915)))
rm_ihpsg13_1p_coldrv13x8.add(gdstk.Reference(m3_m2_cdns_6861388388117, (4.59,-30.45)))
rm_ihpsg13_1p_coldrv13x8.add(gdstk.Reference(m3_m2_cdns_6861388388111, (1.53,-26.435), rotation=pi))
rm_ihpsg13_1p_coldrv13x8.add(gdstk.Reference(m3_m2_cdns_6861388388111, (3.315,-29.62), rotation=pi/2))
rm_ihpsg13_1p_coldrv13x8.add(gdstk.Reference(m3_m2_cdns_6861388388111, (6.375,-22.48), rotation=pi/2))
rm_ihpsg13_1p_coldrv13x8.add(gdstk.Reference(m3_m2_cdns_6861388388111, (6.375,-26.56), rotation=pi/2))
rm_ihpsg13_1p_coldrv13x8.add(gdstk.Reference(m3_m2_cdns_6861388388111, (5.865,-21.97), rotation=pi/2))
rm_ihpsg13_1p_coldrv13x8.add(gdstk.Reference(m3_m2_cdns_6861388388111, (5.865,-24.08), rotation=pi/2))
rm_ihpsg13_1p_coldrv13x8.add(gdstk.Reference(m3_m2_cdns_6861388388111, (5.865,-32.62), rotation=pi/2))
rm_ihpsg13_1p_coldrv13x8.add(gdstk.Reference(m3_m2_cdns_6861388388111, (5.355,-21.46), rotation=pi/2))
rm_ihpsg13_1p_coldrv13x8.add(gdstk.Reference(m3_m2_cdns_6861388388111, (2.805,-24.59), rotation=pi/2))
rm_ihpsg13_1p_coldrv13x8.add(gdstk.Reference(m3_m2_cdns_6861388388111, (2.805,-25.54), rotation=pi/2))
rm_ihpsg13_1p_coldrv13x8.add(gdstk.Reference(m3_m2_cdns_6861388388111, (2.805,-29.11), rotation=pi/2))
rm_ihpsg13_1p_coldrv13x8.add(gdstk.Reference(m3_m2_cdns_6861388388111, (5.865,-26.05), rotation=pi/2))
rm_ihpsg13_1p_coldrv13x8.add(gdstk.Label('DCLK_O', (7.01,-32.4), layer=30, texttype=25))
rm_ihpsg13_1p_coldrv13x8.add(gdstk.Label('DCLK_I', (0.13,-33.6), layer=30, texttype=25))
rm_ihpsg13_1p_coldrv13x8.add(gdstk.Label('RCLK_O', (7.01,-29.4), layer=30, texttype=25))
rm_ihpsg13_1p_coldrv13x8.add(gdstk.Label('RCLK_I', (0.13,-31.5), layer=30, texttype=25))
rm_ihpsg13_1p_coldrv13x8.add(gdstk.Label('WCLK_O', (7.01,-28.89), layer=30, texttype=25))
rm_ihpsg13_1p_coldrv13x8.add(gdstk.Label('WCLK_I', (0.13,-32.34), layer=30, texttype=25))
rm_ihpsg13_1p_coldrv13x8.add(gdstk.Label('ADDR_DEC_O<4>', (7.02,-26.34), layer=30, texttype=25))
rm_ihpsg13_1p_coldrv13x8.add(gdstk.Label('ADDR_DEC_O<6>', (7.02,-25.32), layer=30, texttype=25))
rm_ihpsg13_1p_coldrv13x8.add(gdstk.Label('ADDR_DEC_O<7>', (7.02,-24.81), layer=30, texttype=25))
rm_ihpsg13_1p_coldrv13x8.add(gdstk.Label('ADDR_DEC_O<5>', (7.02,-25.83), layer=30, texttype=25))
rm_ihpsg13_1p_coldrv13x8.add(gdstk.Label('ADDR_COL_O<1>', (7.015,-24.3), layer=30, texttype=25))
rm_ihpsg13_1p_coldrv13x8.add(gdstk.Label('ADDR_DEC_O<3>', (7.02,-20.22), layer=30, texttype=25))
rm_ihpsg13_1p_coldrv13x8.add(gdstk.Label('ADDR_DEC_O<2>', (7.02,-20.73), layer=30, texttype=25))
rm_ihpsg13_1p_coldrv13x8.add(gdstk.Label('ADDR_DEC_O<0>', (7.02,-21.75), layer=30, texttype=25))
rm_ihpsg13_1p_coldrv13x8.add(gdstk.Label('ADDR_DEC_O<1>', (7.02,-21.24), layer=30, texttype=25))
rm_ihpsg13_1p_coldrv13x8.add(gdstk.Label('ADDR_COL_O<0>', (7.02,-22.26), layer=30, texttype=25))
rm_ihpsg13_1p_coldrv13x8.add(gdstk.Label('ADDR_DEC_I<4>', (0.14,-17.22), layer=30, texttype=25))
rm_ihpsg13_1p_coldrv13x8.add(gdstk.Label('ADDR_DEC_I<5>', (0.14,-17.64), layer=30, texttype=25))
rm_ihpsg13_1p_coldrv13x8.add(gdstk.Label('ADDR_DEC_I<6>', (0.14,-20.16), layer=30, texttype=25))
rm_ihpsg13_1p_coldrv13x8.add(gdstk.Label('ADDR_DEC_I<7>', (0.14,-20.58), layer=30, texttype=25))
rm_ihpsg13_1p_coldrv13x8.add(gdstk.Label('ADDR_COL_I<1>', (0.135,-19.74), layer=30, texttype=25))
rm_ihpsg13_1p_coldrv13x8.add(gdstk.Label('ADDR_COL_I<0>', (0.14,-15.54), layer=30, texttype=25))
rm_ihpsg13_1p_coldrv13x8.add(gdstk.Label('ADDR_DEC_I<0>', (0.14,-13.02), layer=30, texttype=25))
rm_ihpsg13_1p_coldrv13x8.add(gdstk.Label('ADDR_DEC_I<1>', (0.13,-13.44), layer=30, texttype=25))
rm_ihpsg13_1p_coldrv13x8.add(gdstk.Label('ADDR_DEC_I<2>', (0.14,-16.38), layer=30, texttype=25))
rm_ihpsg13_1p_coldrv13x8.add(gdstk.Label('ADDR_DEC_I<3>', (0.14,-15.96), layer=30, texttype=25))
rm_ihpsg13_1p_coldrv13x8.add(gdstk.Label('VSS!', (0.3,-33.6), layer=8, texttype=25))
rm_ihpsg13_1p_coldrv13x8.add(gdstk.Label('VDD!', (0.3,-37.8), layer=8, texttype=25))
rm_ihpsg13_1p_coldrv13x8.add(gdstk.Label('VSS!', (0.3,0), layer=8, texttype=25))

lib.write_gds('RM_IHPSG13_1P_COLDRV13X8.gds')
